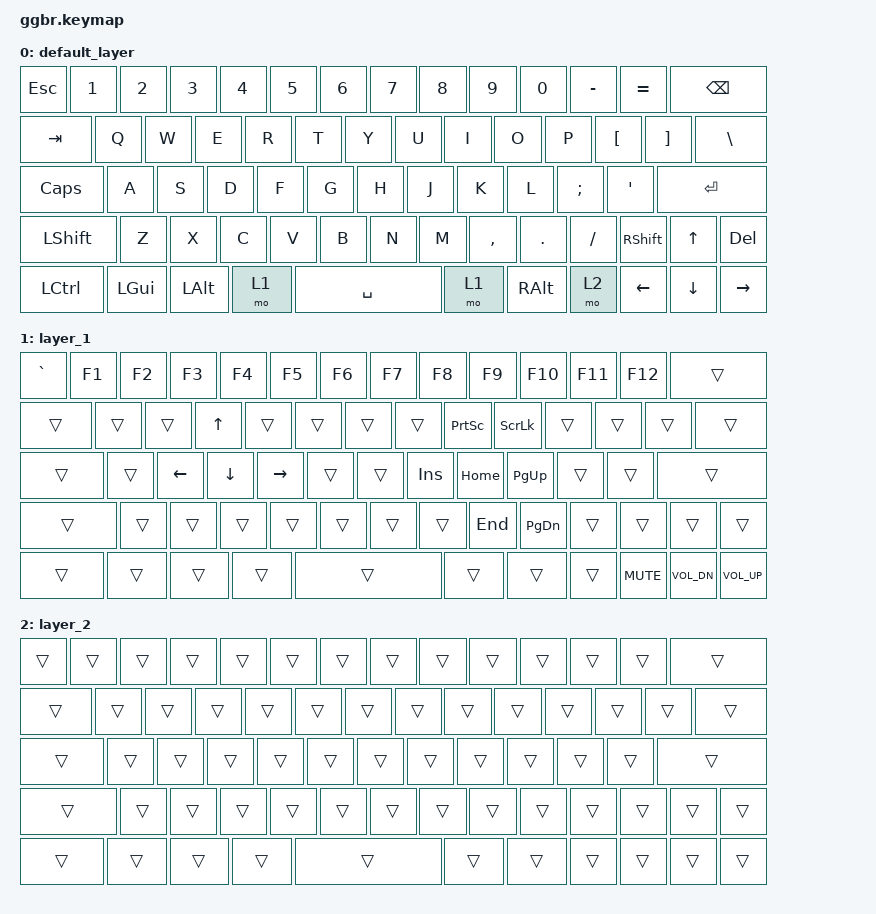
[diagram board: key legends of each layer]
/*
 * Copyright (c) 2025 Naomi
 *
 * SPDX-License-Identifier: MIT
 */

#include <behaviors.dtsi>
#include <dt-bindings/zmk/keys.h>
#include <dt-bindings/zmk/bt.h>

/ {
    keymap0: keymap {
        compatible = "zmk,keymap";

        default_layer {
            bindings = <
        &kp ESC    &kp N1    &kp N2    &kp N3  &kp N4     &kp N5  &kp N6    &kp N7  &kp N8     &kp N9    &kp N0     &kp MINUS  &kp EQUAL  &kp BSPC
        &kp TAB    &kp Q     &kp W     &kp E   &kp R      &kp T   &kp Y     &kp U   &kp I      &kp O     &kp P      &kp LBKT   &kp RBKT   &kp BSLH
        &kp CLCK   &kp A     &kp S     &kp D   &kp F      &kp G   &kp H     &kp J   &kp K      &kp L     &kp SEMI   &kp SQT    &kp RET
        &kp LSHFT  &kp Z     &kp X     &kp C   &kp V      &kp B   &kp N     &kp M   &kp COMMA  &kp DOT   &kp FSLH   &kp RSHFT  &kp UP     &kp DEL
        &kp LCTRL  &kp LGUI  &kp LALT  &mo 1   &kp SPACE  &mo 1   &kp RALT  &mo 2   &kp LEFT   &kp DOWN  &kp RIGHT
            >;
        };

        layer_1 {
            bindings = <
        &kp GRAVE  &kp F1  &kp F2    &kp F3    &kp F4     &kp F5  &kp F6  &kp F7   &kp F8           &kp F9          &kp F10       &kp F11  &kp F12  &trans
        &trans     &trans  &trans    &kp UP    &trans     &trans  &trans  &trans   &kp PRINTSCREEN  &kp SCROLLLOCK  &trans        &trans   &trans   &trans
        &trans     &trans  &kp LEFT  &kp DOWN  &kp RIGHT  &trans  &trans  &kp INS  &kp HOME         &kp PG_UP       &trans        &trans   &trans
        &trans     &trans  &trans    &trans    &trans     &trans  &trans  &trans   &kp END          &kp PG_DN       &trans        &trans   &trans   &trans
        &trans     &trans  &trans    &trans    &trans     &trans  &trans  &trans   &kp K_MUTE       &kp C_VOL_DN    &kp C_VOL_UP
            >;
        };

        layer_2 {
            bindings = <
        &trans  &trans  &trans  &trans  &trans  &trans  &trans  &trans  &trans  &trans  &trans  &trans  &trans  &trans
        &trans  &trans  &trans  &trans  &trans  &trans  &trans  &trans  &trans  &trans  &trans  &trans  &trans  &trans
        &trans  &trans  &trans  &trans  &trans  &trans  &trans  &trans  &trans  &trans  &trans  &trans  &trans
        &trans  &trans  &trans  &trans  &trans  &trans  &trans  &trans  &trans  &trans  &trans  &trans  &trans  &trans
        &trans  &trans  &trans  &trans  &trans  &trans  &trans  &trans  &trans  &trans  &trans
            >;
        };

        layer_3 { status = "reserved"; };

        layer_4 { status = "reserved"; };

        layer_5 { status = "reserved"; };

        layer_6 { status = "reserved"; };

        layer_7 { status = "reserved"; };
    };
};
